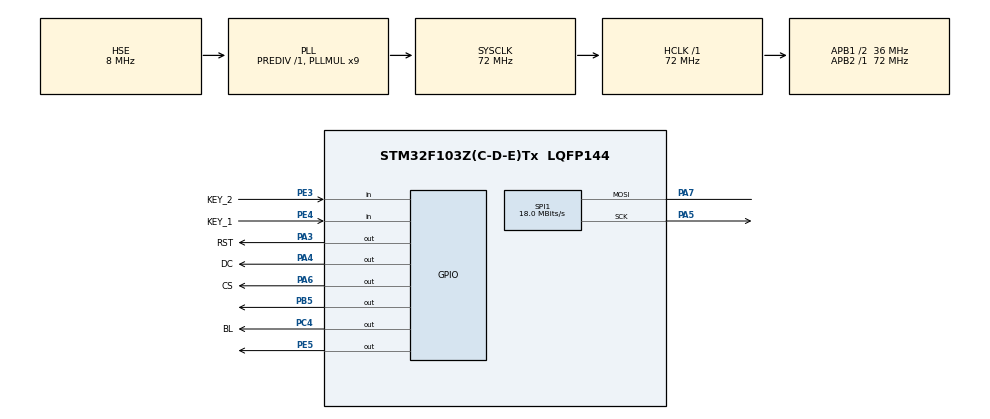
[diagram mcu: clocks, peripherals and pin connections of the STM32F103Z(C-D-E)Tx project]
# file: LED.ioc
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Dma.Request0=SPI1_TX
Dma.Request1=SPI1_RX
Dma.SPI1_RX.1.Direction=DMA_PERIPH_TO_MEMORY
Dma.SPI1_RX.1.Instance=DMA1_Channel2
Dma.SPI1_RX.1.MemDataAlignment=DMA_MDATAALIGN_BYTE
Dma.SPI1_RX.1.MemInc=DMA_MINC_ENABLE
Dma.SPI1_RX.1.Mode=DMA_NORMAL
Dma.SPI1_RX.1.PeriphDataAlignment=DMA_PDATAALIGN_BYTE
Dma.SPI1_RX.1.PeriphInc=DMA_PINC_DISABLE
Dma.SPI1_RX.1.Priority=DMA_PRIORITY_LOW
Dma.SPI1_TX.0.Direction=DMA_MEMORY_TO_PERIPH
Dma.SPI1_TX.0.Instance=DMA1_Channel3
Dma.SPI1_TX.0.MemDataAlignment=DMA_MDATAALIGN_BYTE
Dma.SPI1_TX.0.MemInc=DMA_MINC_ENABLE
Dma.SPI1_TX.0.Mode=DMA_NORMAL
Dma.SPI1_TX.0.PeriphDataAlignment=DMA_PDATAALIGN_BYTE
Dma.SPI1_TX.0.PeriphInc=DMA_PINC_DISABLE
Dma.SPI1_TX.0.Priority=DMA_PRIORITY_LOW
FREERTOS.HEAP_NUMBER=4
FREERTOS.Tasks01=defaultTask,0,128,StartDefaultTask,Default,NULL,Dynamic,NULL,NULL;LED,0,128,LED_FLASH,Default,NULL,Dynamic,NULL,NULL
FREERTOS.configTOTAL_HEAP_SIZE=3071
Mcu.Family=STM32F1
Mcu.Name=STM32F103Z(C-D-E)Tx
Mcu.Package=LQFP144
NVIC.DMA1_Channel2_IRQn=true\:5\:0\:false\:false\:true\:true\:false\:true
NVIC.DMA1_Channel3_IRQn=true\:5\:0\:false\:false\:true\:true\:false\:true
NVIC.PriorityGroup=NVIC_PRIORITYGROUP_4
OSC_IN.Mode=HSE-External-Oscillator
OSC_IN.Signal=RCC_OSC_IN
OSC_OUT.Mode=HSE-External-Oscillator
OSC_OUT.Signal=RCC_OSC_OUT
PA13.Mode=Trace_Asynchronous_SW
PA13.Signal=SYS_JTMS-SWDIO
PA14.Mode=Trace_Asynchronous_SW
PA14.Signal=SYS_JTCK-SWCLK
PA3.GPIO_Label=RST
PA3.Signal=GPIO_Output
PA4.GPIO_Label=DC
PA4.Signal=GPIO_Output
PA5.Mode=Simplex_Bidirectional_Master
PA5.Signal=SPI1_SCK
PA6.GPIO_Label=CS
PA6.Signal=GPIO_Output
PA7.Mode=Simplex_Bidirectional_Master
PA7.Signal=SPI1_MOSI
PB3.Mode=Trace_Asynchronous_SW
PB3.Signal=SYS_JTDO-TRACESWO
PB5.Signal=GPIO_Output
PC14-OSC32_IN.Mode=LSE-External-Oscillator
PC14-OSC32_IN.Signal=RCC_OSC32_IN
PC15-OSC32_OUT.Mode=LSE-External-Oscillator
PC15-OSC32_OUT.Signal=RCC_OSC32_OUT
PC4.GPIO_Label=BL
PC4.GPIO_Speed=GPIO_SPEED_FREQ_MEDIUM
PC4.PinState=GPIO_PIN_SET
PC4.Signal=GPIO_Output
PE3.GPIO_Label=KEY_2
PE3.Signal=GPIO_Input
PE4.GPIO_Label=KEY_1
PE4.Signal=GPIO_Input
PE5.Signal=GPIO_Output
ProjectManager.HeapSize=0x200
ProjectManager.StackSize=0x400
ProjectManager.TargetToolchain=MDK-ARM V5.32
RCC.AHBFreq_Value=72000000
RCC.APB1CLKDivider=RCC_HCLK_DIV2
RCC.APB1Freq_Value=36000000
RCC.APB1TimFreq_Value=72000000
RCC.APB2Freq_Value=72000000
RCC.APB2TimFreq_Value=72000000
RCC.HCLKFreq_Value=72000000
RCC.PLLMUL=RCC_PLL_MUL9
RCC.PLLSourceVirtual=RCC_PLLSOURCE_HSE
RCC.SYSCLKFreq_VALUE=72000000
RCC.SYSCLKSource=RCC_SYSCLKSOURCE_PLLCLK
RCC.USBFreq_Value=72000000
SPI1.BaudRatePrescaler=SPI_BAUDRATEPRESCALER_4
SPI1.CLKPhase=SPI_PHASE_2EDGE
SPI1.CLKPolarity=SPI_POLARITY_HIGH
SPI1.CalculateBaudRate=18.0 MBits/s
SPI1.Direction=SPI_DIRECTION_1LINE
SPI1.Mode=SPI_MODE_MASTER
SPI1.VirtualType=VM_MASTER
VP_FREERTOS_VS_CMSIS_V1.Mode=CMSIS_V1
board=custom

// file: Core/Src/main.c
/* USER CODE BEGIN Header */
/**
  ******************************************************************************
  * @file           : main.c
  * @brief          : Main program body
  ******************************************************************************
  * @attention
  *
  * Copyright (c) 2022 STMicroelectronics.
  * All rights reserved.
  *
  * This software is licensed under terms that can be found in the LICENSE file
  * in the root directory of this software component.
  * If no LICENSE file comes with this software, it is provided AS-IS.
  *
  ******************************************************************************
  */
/* USER CODE END Header */
#include "main.h"
#include "cmsis_os.h"
#include "dma.h"
#include "spi.h"
#include "gpio.h"

void SystemClock_Config(void);
void MX_FREERTOS_Init(void);

/* USER CODE BEGIN 0 */
int i;
/* USER CODE END 0 */

int main(void)
{

  /* MCU Configuration--------------------------------------------------------*/

  /* Reset of all peripherals, Initializes the Flash interface and the Systick. */
  HAL_Init();

  /* Configure the system clock */
  SystemClock_Config();

  /* Initialize all configured peripherals */
  MX_GPIO_Init();
  MX_SPI1_Init();
  MX_DMA_Init();
  /* USER CODE BEGIN 2 */
		lcd_init();
		lcd_num(1 ,2 ,2);
		//lcd_color_fill_int(20,20,23,23,0xffff);
  /* USER CODE END 2 */

  /* Call init function for freertos objects (in freertos.c) */
  MX_FREERTOS_Init();
  /* Start scheduler */
  osKernelStart();

  /* We should never get here as control is now taken by the scheduler */
  /* Infinite loop */
  while (1)
  {

    /* USER CODE BEGIN 3 */
//		i++;
//		lcd_num(i,2 ,2);
//		lcd_num(i,2 ,140);
//		lcd_show();

  }
  /* USER CODE END 3 */
}

void SystemClock_Config(void)
{
  RCC_OscInitTypeDef RCC_OscInitStruct = {0};
  RCC_ClkInitTypeDef RCC_ClkInitStruct = {0};

  /** Initializes the RCC Oscillators according to the specified parameters
  * in the RCC_OscInitTypeDef structure.
  */
  RCC_OscInitStruct.OscillatorType = RCC_OSCILLATORTYPE_HSE;
  RCC_OscInitStruct.HSEState = RCC_HSE_ON;
  RCC_OscInitStruct.HSEPredivValue = RCC_HSE_PREDIV_DIV1;
  RCC_OscInitStruct.HSIState = RCC_HSI_ON;
  RCC_OscInitStruct.PLL.PLLState = RCC_PLL_ON;
  RCC_OscInitStruct.PLL.PLLSource = RCC_PLLSOURCE_HSE;
  RCC_OscInitStruct.PLL.PLLMUL = RCC_PLL_MUL9;
  if (HAL_RCC_OscConfig(&RCC_OscInitStruct) != HAL_OK)
  {
    Error_Handler();
  }
  /** Initializes the CPU, AHB and APB buses clocks
  */
  RCC_ClkInitStruct.ClockType = RCC_CLOCKTYPE_HCLK|RCC_CLOCKTYPE_SYSCLK
                              |RCC_CLOCKTYPE_PCLK1|RCC_CLOCKTYPE_PCLK2;
  RCC_ClkInitStruct.SYSCLKSource = RCC_SYSCLKSOURCE_PLLCLK;
  RCC_ClkInitStruct.AHBCLKDivider = RCC_SYSCLK_DIV1;
  RCC_ClkInitStruct.APB1CLKDivider = RCC_HCLK_DIV2;
  RCC_ClkInitStruct.APB2CLKDivider = RCC_HCLK_DIV1;

  if (HAL_RCC_ClockConfig(&RCC_ClkInitStruct, FLASH_LATENCY_2) != HAL_OK)
  {
    Error_Handler();
  }
}

void Error_Handler(void)
{
  __disable_irq();
  while (1)
  {
  }
}

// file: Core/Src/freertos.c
/* USER CODE BEGIN Header */
/**
  ******************************************************************************
  * File Name          : freertos.c
  * Description        : Code for freertos applications
  ******************************************************************************
  * @attention
  *
  * Copyright (c) 2022 STMicroelectronics.
  * All rights reserved.
  *
  * This software is licensed under terms that can be found in the LICENSE file
  * in the root directory of this software component.
  * If no LICENSE file comes with this software, it is provided AS-IS.
  *
  ******************************************************************************
  */
/* USER CODE END Header */

#include "FreeRTOS.h"
#include "task.h"
#include "main.h"
#include "cmsis_os.h"

/* USER CODE BEGIN Includes */
#include "LCD_task.h"
#include "button.h"

/* USER CODE END Includes */

osThreadId defaultTaskHandle;
osThreadId LEDHandle;

/* USER CODE BEGIN FunctionPrototypes */
osThreadId LCD_FLUSHHandle;
osThreadId Button_TaskHHandle;
/* USER CODE END FunctionPrototypes */

void StartDefaultTask(void const * argument);
void LED_FLASH(void const * argument);

void MX_FREERTOS_Init(void); /* (MISRA C 2004 rule 8.1) */

/* GetIdleTaskMemory prototype (linked to static allocation support) */
void vApplicationGetIdleTaskMemory( StaticTask_t **ppxIdleTaskTCBBuffer, StackType_t **ppxIdleTaskStackBuffer, uint32_t *pulIdleTaskStackSize );

/* USER CODE BEGIN GET_IDLE_TASK_MEMORY */
static StaticTask_t xIdleTaskTCBBuffer;
static StackType_t xIdleStack[configMINIMAL_STACK_SIZE];

void vApplicationGetIdleTaskMemory( StaticTask_t **ppxIdleTaskTCBBuffer, StackType_t **ppxIdleTaskStackBuffer, uint32_t *pulIdleTaskStackSize )
{
  *ppxIdleTaskTCBBuffer = &xIdleTaskTCBBuffer;
  *ppxIdleTaskStackBuffer = &xIdleStack[0];
  *pulIdleTaskStackSize = configMINIMAL_STACK_SIZE;
  /* place for user code */
}
/* USER CODE END GET_IDLE_TASK_MEMORY */

void MX_FREERTOS_Init(void) {
  /* USER CODE BEGIN Init */
	vSemaphoreCreateBinary( KEY_1_Handle);
	vSemaphoreCreateBinary( KEY_2_Handle);

  /* USER CODE END Init */

  /* Create the thread(s) */
  /* definition and creation of defaultTask */
  osThreadDef(defaultTask, StartDefaultTask, osPriorityNormal, 0, 128);
  defaultTaskHandle = osThreadCreate(osThread(defaultTask), NULL);

  /* definition and creation of LED */
  osThreadDef(LED, LED_FLASH_TASK, osPriorityNormal, 0, 64);
  LEDHandle = osThreadCreate(osThread(LED), NULL);

  /* USER CODE BEGIN RTOS_THREADS */
  /* add threads, ... */
	 osThreadDef( LCD_FLUSH ,
								LCD_FLUSH_Task,
	              osPriorityAboveNormal,
								0,
	              256);
  LCD_FLUSHHandle = osThreadCreate(osThread(LCD_FLUSH), NULL);

//	xTaskCreate( Button_detect_TASK , "handle_key",128 ,NULL, 2 ,NULL);
	 osThreadDef( Button_Task ,
								Button_detect_TASK,
	              osPriorityAboveNormal,
								0,
	              128);
  Button_TaskHHandle = osThreadCreate(osThread(Button_Task), NULL);

//	 osThreadDef(LVGL_FLUSH, LVGL_Fresh_Task, osPriorityNormal, 0, 128);
//	 LVGL_FLUSHHandle = osThreadCreate(osThread(LVGL_FLUSH), NULL);

  /* USER CODE END RTOS_THREADS */

}

void StartDefaultTask(void const * argument)
{
  for(;;)
  {
    osDelay(1);
  }
}

void LED_FLASH(void const * argument)
{
  for(;;)
  {
    osDelay(1);
  }
}
